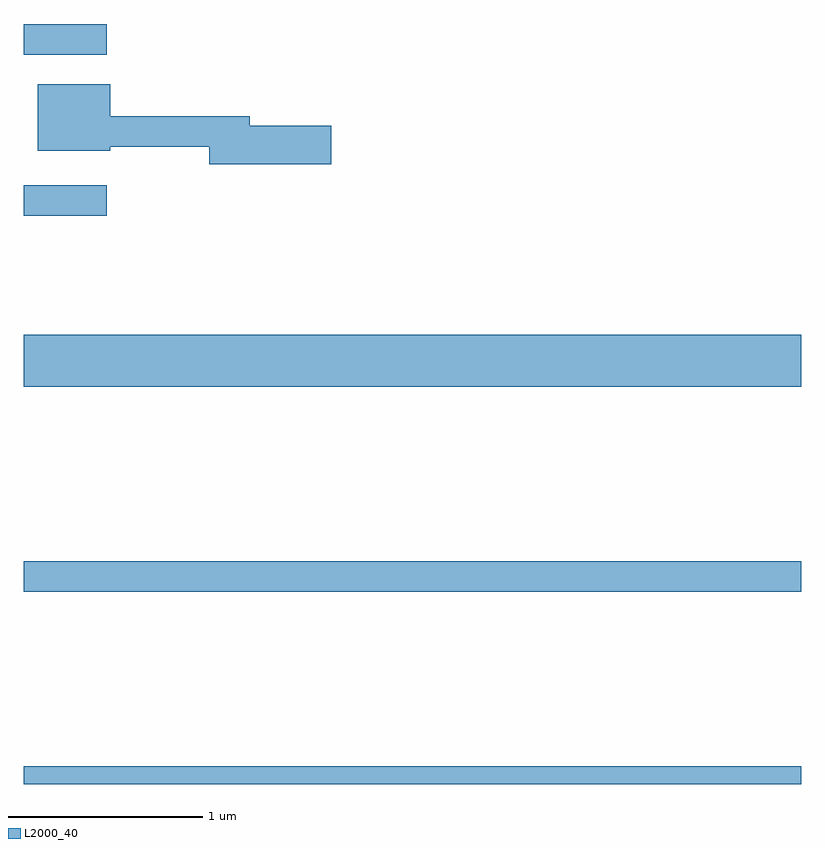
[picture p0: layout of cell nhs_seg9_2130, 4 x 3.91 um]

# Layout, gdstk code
import gdstk
lib = gdstk.Library(unit=1e-6, precision=1e-09)
def R(c, l, rs):  # rectangles x0, y0, x1, y1
    for r in rs: c.add(gdstk.rectangle(r[:2], r[2:], *l))
def P(c, l, *ps):  # polygons
    for p in ps: c.add(gdstk.Polygon(p, *l))
L2000_40 = (2000, 40)

nhs_seg9_2130 = lib.new_cell('nhs_seg9_2130')
R(nhs_seg9_2130, L2000_40, [(247.611,1996.432,251.611,1996.524), (247.611,1997.421,251.611,1997.579), (247.611,1998.476,251.611,1998.744), (247.611,1999.356,248.038,1999.514), (247.611,2000.186,248.038,2000.344)])
P(nhs_seg9_2130, L2000_40, [(249.194,1999.819),(248.774,1999.819),(248.774,1999.869),(248.054,1999.869),(248.054,2000.034),(247.681,2000.034),(247.681,1999.691),(248.054,1999.691),(248.054,1999.711),(248.566,1999.711),(248.566,1999.621),(249.194,1999.621)])

lib.write_gds('nhs_seg9_2130.gds')
